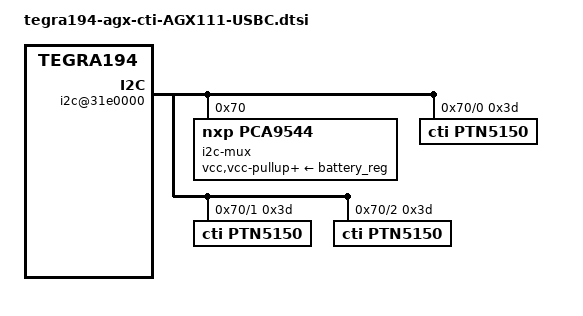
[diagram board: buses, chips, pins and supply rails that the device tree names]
/ {
   i2c@31e0000{
        status = "okay";
        pinctrl-names = "default";
        pinctrl-0 = <&dpaux_default>;

        i2c-mux@70{
            reg = <0x70>;
            compatible = "nxp,pca9544";
            vcc-supply = <&battery_reg>;
            vcc-pullup-supply = <&battery_reg>;
            vif-supply = <&battery_reg>;
            vcc_lp = "vif";
            #address-cells = <1>;
            #size-cells = <0>;

            //USB0 (OTG)
            i2c@0{
                reg = <0>;
                #address-cells = <1>;
                #size-cells = <0>;
                ptn5150@3d{
                    status = "okay";
                    compatible = "cti,ptn5150";
                    reg = <0x3d>;
                    cti,optional;
                    connector@0 {
                        compatible = "usb-c-connector";
                        label = "USB-C";
                        data-role = "host";
                        //Supported opmodes: "default" (900mA), "1.5A", "3.0A"
                        power-opmode = "1.5A";
                    };
                };
            };
            //USB1
            i2c@1{
                reg = <1>;
                #address-cells = <1>;
                #size-cells = <0>;
                ptn5150@3d{
                    compatible = "cti,ptn5150";
                    reg = <0x3d>;
                    cti,optional;
                    status = "okay";
                    connector@0 {
                        compatible = "usb-c-connector";
                        label = "USB-C";
                        data-role = "host";
                        power-opmode = "3.0A";
                    };
                };
            };
            //USB2 
            i2c@2{
                reg = <2>;
                #address-cells = <1>;
                #size-cells = <0>;
                ptn5150@3d{
                    compatible = "cti,ptn5150";
                    reg = <0x3d>;
                    cti,optional;
                    status = "okay";
                    connector@0 {
                        compatible = "usb-c-connector";
                        label = "USB-C";
                        data-role = "host";
                        power-opmode = "3.0A";
                    };
                };
            };
        };
    };
};
